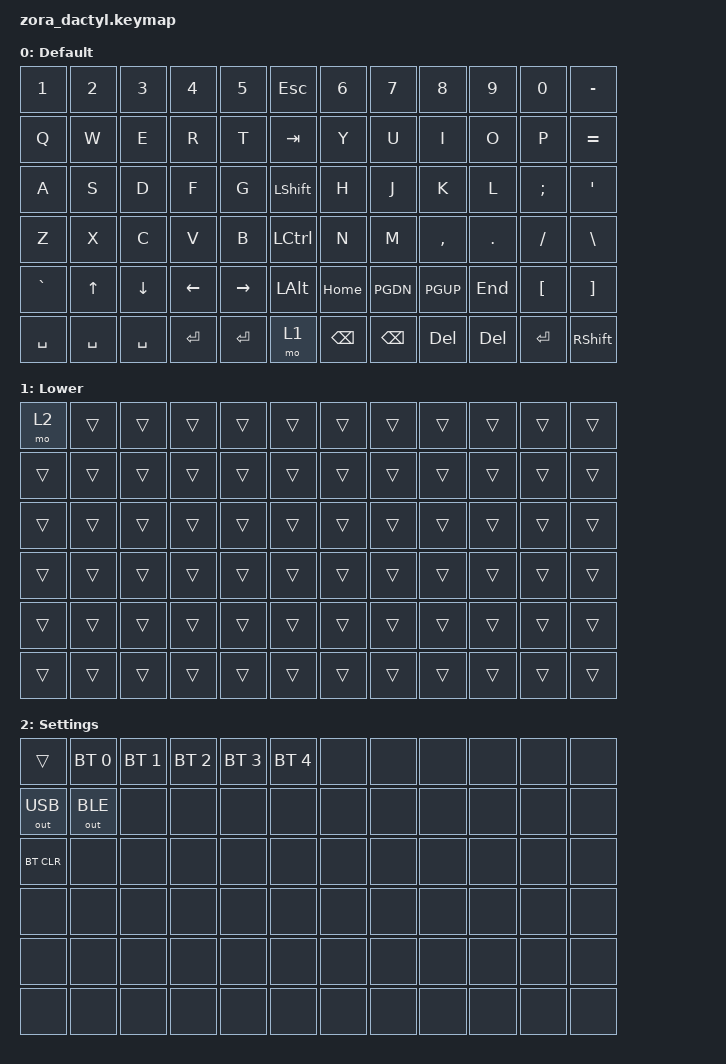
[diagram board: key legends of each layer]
#include <behaviors.dtsi>
#include <dt-bindings/zmk/keys.h>
#include <dt-bindings/zmk/bt.h>
#include <dt-bindings/zmk/outputs.h>

#define DEFAULT 0
#define LOWER   1
#define SETTINGS 2

/ {
    keymap {
        compatible = "zmk,keymap";

        default_layer {
            display-name = "Default";
            bindings = <
    /* LEFT SIDE | RIGHT SIDE */
    &kp N1 &kp N2 &kp N3 &kp N4 &kp N5 &kp ESC        &kp N6   &kp N7   &kp N8    &kp N9  &kp N0   &kp MINUS
    &kp Q  &kp W  &kp E  &kp R  &kp T  &kp TAB        &kp Y    &kp U    &kp I     &kp O   &kp P    &kp EQUAL
    &kp A  &kp S  &kp D  &kp F  &kp G  &kp LSHFT      &kp H    &kp J    &kp K     &kp L   &kp SEMI &kp SQT
    &kp Z  &kp X  &kp C  &kp V  &kp B  &kp LCTRL      &kp N    &kp M    &kp COMMA &kp DOT &kp FSLH &kp BSLH
    &kp GRAVE &kp UP &kp DOWN &kp LEFT &kp RIGHT &kp LALT   &kp HOME &kp PGDN &kp PGUP  &kp END &kp LBKT &kp RBKT
    &kp SPACE &kp SPACE &kp SPACE &kp RET &kp RET &mo 1     &kp BSPC &kp BSPC &kp DEL   &kp DEL &kp RET  &kp RSHFT
            >;
        };

        lower_layer {
            display-name = "Lower";
            bindings = <
    /* Hold `mo 1` (Left Thumb) to access. The top left key becomes your gateway to the Settings Layer. */
    &mo 2  &trans &trans &trans &trans &trans         &trans &trans &trans &trans &trans &trans
    &trans &trans &trans &trans &trans &trans         &trans &trans &trans &trans &trans &trans
    &trans &trans &trans &trans &trans &trans         &trans &trans &trans &trans &trans &trans
    &trans &trans &trans &trans &trans &trans         &trans &trans &trans &trans &trans &trans
    &trans &trans &trans &trans &trans &trans         &trans &trans &trans &trans &trans &trans
    &trans &trans &trans &trans &trans &trans         &trans &trans &trans &trans &trans &trans
            >;
        };

        settings_layer {
            display-name = "Settings";
            bindings = <
    /* This layer handles all radio commands safely. */
    &trans       &bt BT_SEL 0 &bt BT_SEL 1 &bt BT_SEL 2 &bt BT_SEL 3 &bt BT_SEL 4    &none &none &none &none &none &none
    &out OUT_USB &out OUT_BLE &none        &none        &none        &none           &none &none &none &none &none &none
    &bt BT_CLR   &none        &none        &none        &none        &none           &none &none &none &none &none &none
    &none        &none        &none        &none        &none        &none           &none &none &none &none &none &none
    &none        &none        &none        &none        &none        &none           &none &none &none &none &none &none
    &none        &none        &none        &none        &none        &none           &none &none &none &none &none &none
            >;
        };
    };
};
